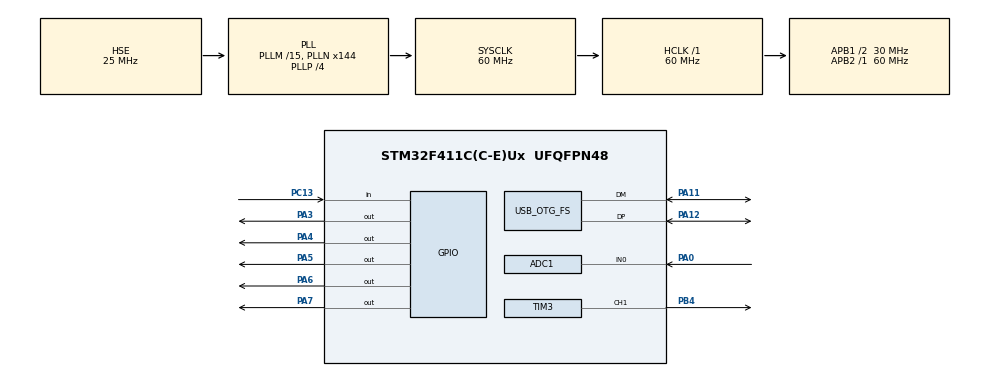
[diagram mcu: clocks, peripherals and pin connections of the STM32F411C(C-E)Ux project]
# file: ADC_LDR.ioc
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ADC1.Channel-0\#ChannelRegularConversion=ADC_CHANNEL_0
ADC1.ClockPrescaler=ADC_CLOCK_SYNC_PCLK_DIV4
ADC1.NbrOfConversionFlag=1
ADC1.Rank-0\#ChannelRegularConversion=1
ADC1.SamplingTime-0\#ChannelRegularConversion=ADC_SAMPLETIME_3CYCLES
ADC1.master=1
Mcu.Family=STM32F4
Mcu.Name=STM32F411C(C-E)Ux
Mcu.Package=UFQFPN48
NVIC.OTG_FS_IRQn=true\:0\:0\:false\:false\:true\:false\:true\:true
NVIC.PriorityGroup=NVIC_PRIORITYGROUP_4
PA0-WKUP.Signal=ADCx_IN0
PA11.Mode=Device_Only
PA11.Signal=USB_OTG_FS_DM
PA12.Mode=Device_Only
PA12.Signal=USB_OTG_FS_DP
PA13.Signal=SYS_JTMS-SWDIO
PA14.Signal=SYS_JTCK-SWCLK
PA3.Signal=GPIO_Output
PA4.Signal=GPIO_Output
PA5.Signal=GPIO_Output
PA6.Signal=GPIO_Output
PA7.Signal=GPIO_Output
PB4.Signal=S_TIM3_CH1
PC13-ANTI_TAMP.Signal=GPIO_Input
PC14-OSC32_IN.Signal=RCC_OSC32_IN
PC15-OSC32_OUT.Signal=RCC_OSC32_OUT
PH0\ -\ OSC_IN.Mode=HSE-External-Oscillator
PH0\ -\ OSC_IN.Signal=RCC_OSC_IN
PH1\ -\ OSC_OUT.Mode=HSE-External-Oscillator
PH1\ -\ OSC_OUT.Signal=RCC_OSC_OUT
ProjectManager.HeapSize=0x200
ProjectManager.StackSize=0x400
ProjectManager.TargetToolchain=Makefile
RCC.48MHZClocksFreq_Value=48000000
RCC.AHBFreq_Value=60000000
RCC.APB1CLKDivider=RCC_HCLK_DIV2
RCC.APB1Freq_Value=30000000
RCC.APB1TimFreq_Value=60000000
RCC.APB2Freq_Value=60000000
RCC.APB2TimFreq_Value=60000000
RCC.CortexFreq_Value=60000000
RCC.HCLKFreq_Value=60000000
RCC.HSE_VALUE=25000000
RCC.HSI_VALUE=16000000
RCC.LSE_VALUE=32768
RCC.PLLM=15
RCC.PLLN=144
RCC.PLLP=RCC_PLLP_DIV4
RCC.PLLQ=5
RCC.SYSCLKFreq_VALUE=60000000
RCC.SYSCLKSource=RCC_SYSCLKSOURCE_PLLCLK
RCC.VCOOutputFreq_Value=240000000
SH.ADCx_IN0.0=ADC1_IN0,IN0
SH.S_TIM3_CH1.0=TIM3_CH1,PWM Generation1 CH1
TIM3.Channel-PWM\ Generation1\ CH1=TIM_CHANNEL_1
TIM3.Period=7500
TIM3.Pulse-PWM\ Generation1\ CH1=469
USB_DEVICE.CLASS_NAME_FS=CDC
USB_DEVICE.PRODUCT_STRING_CDC_FS=BLACKPILL Virtual ComPort
USB_DEVICE.USBD_DEBUG_LEVEL=1
USB_DEVICE.VirtualMode=Cdc
USB_DEVICE.VirtualModeFS=Cdc_FS
USB_OTG_FS.VirtualMode=Device_Only
VP_TIM3_VS_ClockSourceINT.Mode=Internal
VP_USB_DEVICE_VS_USB_DEVICE_CDC_FS.Mode=CDC_FS
board=custom

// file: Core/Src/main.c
/* USER CODE BEGIN Header */
/**
 ******************************************************************************
 * @file           : main.c
 * @brief          : Main program body
 ******************************************************************************
 * @attention
 *
 * Copyright (c) 2025 STMicroelectronics.
 * All rights reserved.
 *
 * This software is licensed under terms that can be found in the LICENSE file
 * in the root directory of this software component.
 * If no LICENSE file comes with this software, it is provided AS-IS.
 *
 ******************************************************************************
 */
/* USER CODE END Header */
#include "main.h"
#include "usb_device.h"

/* USER CODE BEGIN Includes */
#include "usb_device.h"
#include "usbd_cdc_if.h"
/* USER CODE END Includes */

/* USER CODE BEGIN PD */
#define MAX_PWM 7500 // Valor máximo do PWM (100% duty cycle)
#define MIN_PWM 5    // Valor mínimo do PWM (0% duty cycle)
#define STEP_PWM 469
/* USER CODE END PD */

ADC_HandleTypeDef hadc1;

TIM_HandleTypeDef htim3;

/* USER CODE BEGIN PV */
uint32_t valorADC;
uint32_t adc_min = 185;  // Valor do ADC correspondente a V escuro (0.16V)
uint32_t adc_max = 3050; // Valor do ADC correspondente a V claro (3.14V)
uint8_t nivelLed = 0;
uint8_t gUSBRxBuffer[255];
uint8_t buffer[255];
// uint32_t count = 0; //controle de envio de dados via USB
/* USER CODE END PV */

void SystemClock_Config(void);
static void MX_GPIO_Init(void);
static void MX_ADC1_Init(void);
static void MX_TIM3_Init(void);

int main(void)
{

  /* MCU Configuration--------------------------------------------------------*/

  /* Reset of all peripherals, Initializes the Flash interface and the Systick. */
  HAL_Init();

  /* Configure the system clock */
  SystemClock_Config();

  /* Initialize all configured peripherals */
  MX_GPIO_Init();
  MX_ADC1_Init();
  MX_USB_DEVICE_Init();
  MX_TIM3_Init();
  /* USER CODE BEGIN 2 */
  HAL_TIM_PWM_Start(&htim3, TIM_CHANNEL_1);
  /* USER CODE END 2 */

  /* Infinite loop */
  while (1)
  {

    /* USER CODE BEGIN 3 */
    /*
    Calculo do circuito divisor de tensão para o LDR:
     RLDR varia de ~473 Ohms (luz) a ~180kOhms (escuro)
     R1= sqrt(RLDR_min*RLDR_max) = 9.23kOhms
     R1 = 10k Ohms (no calculo 9.23kOhms)
     R_th_max = R1xRLDR/(R1+RLDR) = 8662 Ohms
     V_th_max = Vcc*R_th_max/(R_th_max+R1) = 3.14V  (considerando Vcc = 3.3V)
     R_th_min = R1xRHDR/(R1+RHDR) = 550 Ohms
     V_th_min = Vcc*R_th_min/(R_th_min+R1) = 0.16V
     adc_min = 0.16*4095/3.3 = 199
     adc_max = 3.14*4095/3.3 = 3894
    */

    HAL_ADC_Start(&hadc1);
    if (HAL_ADC_PollForConversion(&hadc1, 100) == HAL_OK)
    {
      valorADC = HAL_ADC_GetValue(&hadc1); // variavel que o professor pode colocar Watch durante debug
    }
    HAL_ADC_Stop(&hadc1);
    // controle de overflow
    if (valorADC <= adc_min)
    {
      nivelLed = 0;
    }
    else if (valorADC >= adc_max)
    {
      nivelLed = 5;
    } // se nao ocorrer overflow, faz o mapeamento
    else
    {
      // Mapeia linearmente a faixa de ADC para o número de LEDs (1 a 4)
      nivelLed = 1 + (4 * (valorADC - adc_min)) / (adc_max - adc_min); // adcmax - adcmin = range valorADC - adcmin = valorADC com 0 deslocado pra adcmin
    }
    nivelLed = valorADC / 750;
    nivelLed = (1 << nivelLed) - 1;
    HAL_GPIO_WritePin(GPIOA, ((~nivelLed) & (0x1F)) << 3, 0);
    HAL_GPIO_WritePin(GPIOA, nivelLed << 3, 1);

    // Aciona os LEDs de acordo com o nível calculado
    // HAL_GPIO_WritePin(GPIOA, GPIO_PIN_3, (nivelLed <= 1) ? GPIO_PIN_RESET : GPIO_PIN_SET); // if else compacto se não funcionar, usar switch case normal abaixo
    // HAL_GPIO_WritePin(GPIOA, GPIO_PIN_3, (nivelLed >= 1) ? GPIO_PIN_SET : GPIO_PIN_RESET);
    // HAL_GPIO_WritePin(GPIOA, GPIO_PIN_4, (nivelLed >= 2) ? GPIO_PIN_SET : GPIO_PIN_RESET);
    // HAL_GPIO_WritePin(GPIOA, GPIO_PIN_5, (nivelLed >= 3) ? GPIO_PIN_SET : GPIO_PIN_RESET);
    // HAL_GPIO_WritePin(GPIOA, GPIO_PIN_6, (nivelLed >= 4) ? GPIO_PIN_SET : GPIO_PIN_RESET);
    // HAL_GPIO_WritePin(GPIOA, GPIO_PIN_7, (nivelLed >= 5) ? GPIO_PIN_SET : GPIO_PIN_RESET);

    // Pequeno delay para estabilidade da leitura
    // ongoing----------------------------------------------------------------------
    if (gUSBRxBuffer[0] != 0)
    {
      if ((gUSBRxBuffer[0] == 80 ) || (gUSBRxBuffer[0] == 37))
      {
        sprintf(buffer, "O percentual do fundo de escala do A/D eh de %lu.%lu% %%,apresentando uma tensao de %lu mV\r\n", (valorADC * 100 / 4095), (((valorADC * 10000) / 4095) % 100), (valorADC * 3300 / 4095));
        CDC_Transmit_FS(buffer, strlen(buffer));
        gUSBRxBuffer[0] = 0;
      }
      else if (gUSBRxBuffer[0] == 115)  // s para subir
      {
        if (htim3.Instance->CCR1 < MAX_PWM - STEP_PWM)
        {
          sprintf(buffer, "Duty Cycle atual: %lu\r\n", htim3.Instance->CCR1);
          CDC_Transmit_FS(buffer, strlen(buffer));
          htim3.Instance->CCR1 += STEP_PWM;
          gUSBRxBuffer[0] = 0;
        }
        else
        {
          sprintf(buffer, "Duty Cycle atual: 100%%\r\n");
          CDC_Transmit_FS(buffer, strlen(buffer));
          htim3.Instance->CCR1 = MAX_PWM;
          gUSBRxBuffer[0] = 0;
        }
      }
      else if (gUSBRxBuffer[0] == 100)  // d para descer
      {
        if (htim3.Instance->CCR1 > MIN_PWM + STEP_PWM)
        {
          sprintf(buffer, "Duty Cycle atual: %lu\r\n", htim3.Instance->CCR1);
          CDC_Transmit_FS(buffer, strlen(buffer));
          htim3.Instance->CCR1 -= STEP_PWM;
          gUSBRxBuffer[0] = 0;
        }
        else
        {
          sprintf(buffer, "Duty Cycle atual: 0%%\r\n");
          CDC_Transmit_FS(buffer, strlen(buffer));
          htim3.Instance->CCR1 = MIN_PWM;
          gUSBRxBuffer[0] = 0;
        }
      }
    }
    HAL_Delay(30);
  }
  /* USER CODE END 3 */
}

void SystemClock_Config(void)
{
  RCC_OscInitTypeDef RCC_OscInitStruct = {0};
  RCC_ClkInitTypeDef RCC_ClkInitStruct = {0};

  /** Configure the main internal regulator output voltage
   */
  __HAL_RCC_PWR_CLK_ENABLE();
  __HAL_PWR_VOLTAGESCALING_CONFIG(PWR_REGULATOR_VOLTAGE_SCALE1);

  /** Initializes the RCC Oscillators according to the specified parameters
   * in the RCC_OscInitTypeDef structure.
   */
  RCC_OscInitStruct.OscillatorType = RCC_OSCILLATORTYPE_HSE;
  RCC_OscInitStruct.HSEState = RCC_HSE_ON;
  RCC_OscInitStruct.PLL.PLLState = RCC_PLL_ON;
  RCC_OscInitStruct.PLL.PLLSource = RCC_PLLSOURCE_HSE;
  RCC_OscInitStruct.PLL.PLLM = 15;
  RCC_OscInitStruct.PLL.PLLN = 144;
  RCC_OscInitStruct.PLL.PLLP = RCC_PLLP_DIV4;
  RCC_OscInitStruct.PLL.PLLQ = 5;
  if (HAL_RCC_OscConfig(&RCC_OscInitStruct) != HAL_OK)
  {
    Error_Handler();
  }

  /** Initializes the CPU, AHB and APB buses clocks
   */
  RCC_ClkInitStruct.ClockType = RCC_CLOCKTYPE_HCLK | RCC_CLOCKTYPE_SYSCLK | RCC_CLOCKTYPE_PCLK1 | RCC_CLOCKTYPE_PCLK2;
  RCC_ClkInitStruct.SYSCLKSource = RCC_SYSCLKSOURCE_PLLCLK;
  RCC_ClkInitStruct.AHBCLKDivider = RCC_SYSCLK_DIV1;
  RCC_ClkInitStruct.APB1CLKDivider = RCC_HCLK_DIV2;
  RCC_ClkInitStruct.APB2CLKDivider = RCC_HCLK_DIV1;

  if (HAL_RCC_ClockConfig(&RCC_ClkInitStruct, FLASH_LATENCY_1) != HAL_OK)
  {
    Error_Handler();
  }
}

static void MX_ADC1_Init(void)
{

  ADC_ChannelConfTypeDef sConfig = {0};

  /** Configure the global features of the ADC (Clock, Resolution, Data Alignment and number of conversion)
   */
  hadc1.Instance = ADC1;
  hadc1.Init.ClockPrescaler = ADC_CLOCK_SYNC_PCLK_DIV4;
  hadc1.Init.Resolution = ADC_RESOLUTION_12B;
  hadc1.Init.ScanConvMode = DISABLE;
  hadc1.Init.ContinuousConvMode = DISABLE;
  hadc1.Init.DiscontinuousConvMode = DISABLE;
  hadc1.Init.ExternalTrigConvEdge = ADC_EXTERNALTRIGCONVEDGE_NONE;
  hadc1.Init.ExternalTrigConv = ADC_SOFTWARE_START;
  hadc1.Init.DataAlign = ADC_DATAALIGN_RIGHT;
  hadc1.Init.NbrOfConversion = 1;
  hadc1.Init.DMAContinuousRequests = DISABLE;
  hadc1.Init.EOCSelection = ADC_EOC_SINGLE_CONV;
  if (HAL_ADC_Init(&hadc1) != HAL_OK)
  {
    Error_Handler();
  }

  /** Configure for the selected ADC regular channel its corresponding rank in the sequencer and its sample time.
   */
  sConfig.Channel = ADC_CHANNEL_0;
  sConfig.Rank = 1;
  sConfig.SamplingTime = ADC_SAMPLETIME_3CYCLES;
  if (HAL_ADC_ConfigChannel(&hadc1, &sConfig) != HAL_OK)
  {
    Error_Handler();
  }
}

static void MX_TIM3_Init(void)
{

  TIM_ClockConfigTypeDef sClockSourceConfig = {0};
  TIM_MasterConfigTypeDef sMasterConfig = {0};
  TIM_OC_InitTypeDef sConfigOC = {0};

  htim3.Instance = TIM3;
  htim3.Init.Prescaler = 0;
  htim3.Init.CounterMode = TIM_COUNTERMODE_UP;
  htim3.Init.Period = 7500;
  htim3.Init.ClockDivision = TIM_CLOCKDIVISION_DIV1;
  htim3.Init.AutoReloadPreload = TIM_AUTORELOAD_PRELOAD_DISABLE;
  if (HAL_TIM_Base_Init(&htim3) != HAL_OK)
  {
    Error_Handler();
  }
  sClockSourceConfig.ClockSource = TIM_CLOCKSOURCE_INTERNAL;
  if (HAL_TIM_ConfigClockSource(&htim3, &sClockSourceConfig) != HAL_OK)
  {
    Error_Handler();
  }
  if (HAL_TIM_PWM_Init(&htim3) != HAL_OK)
  {
    Error_Handler();
  }
  sMasterConfig.MasterOutputTrigger = TIM_TRGO_RESET;
  sMasterConfig.MasterSlaveMode = TIM_MASTERSLAVEMODE_DISABLE;
  if (HAL_TIMEx_MasterConfigSynchronization(&htim3, &sMasterConfig) != HAL_OK)
  {
    Error_Handler();
  }
  sConfigOC.OCMode = TIM_OCMODE_PWM1;
  sConfigOC.Pulse = 469;
  sConfigOC.OCPolarity = TIM_OCPOLARITY_HIGH;
  sConfigOC.OCFastMode = TIM_OCFAST_DISABLE;
  if (HAL_TIM_PWM_ConfigChannel(&htim3, &sConfigOC, TIM_CHANNEL_1) != HAL_OK)
  {
    Error_Handler();
  }
  HAL_TIM_MspPostInit(&htim3);
}

static void MX_GPIO_Init(void)
{
  GPIO_InitTypeDef GPIO_InitStruct = {0};

  /* GPIO Ports Clock Enable */
  __HAL_RCC_GPIOC_CLK_ENABLE();
  __HAL_RCC_GPIOH_CLK_ENABLE();
  __HAL_RCC_GPIOA_CLK_ENABLE();
  __HAL_RCC_GPIOB_CLK_ENABLE();

  /*Configure GPIO pin Output Level */
  HAL_GPIO_WritePin(GPIOA, GPIO_PIN_3 | GPIO_PIN_4 | GPIO_PIN_5 | GPIO_PIN_6 | GPIO_PIN_7, GPIO_PIN_RESET);

  /*Configure GPIO pin : PC13 */
  GPIO_InitStruct.Pin = GPIO_PIN_13;
  GPIO_InitStruct.Mode = GPIO_MODE_INPUT;
  GPIO_InitStruct.Pull = GPIO_NOPULL;
  HAL_GPIO_Init(GPIOC, &GPIO_InitStruct);

  /*Configure GPIO pins : PA3 PA4 PA5 PA6
                           PA7 */
  GPIO_InitStruct.Pin = GPIO_PIN_3 | GPIO_PIN_4 | GPIO_PIN_5 | GPIO_PIN_6 | GPIO_PIN_7;
  GPIO_InitStruct.Mode = GPIO_MODE_OUTPUT_PP;
  GPIO_InitStruct.Pull = GPIO_NOPULL;
  GPIO_InitStruct.Speed = GPIO_SPEED_FREQ_LOW;
  HAL_GPIO_Init(GPIOA, &GPIO_InitStruct);

}

void Error_Handler(void)
{
  __disable_irq();
  while (1)
  {
  }
}
